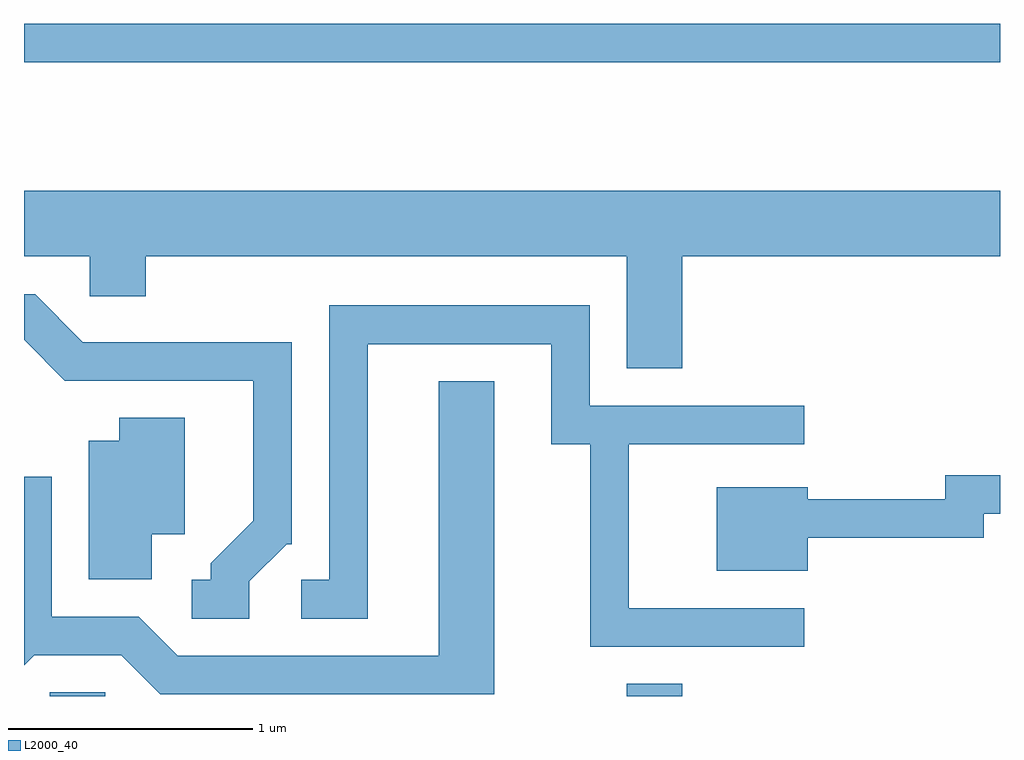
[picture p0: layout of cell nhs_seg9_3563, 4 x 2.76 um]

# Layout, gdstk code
import gdstk
lib = gdstk.Library(unit=1e-6, precision=1e-09)
def R(c, l, rs):  # rectangles x0, y0, x1, y1
    for r in rs: c.add(gdstk.rectangle(r[:2], r[2:], *l))
def P(c, l, *ps):  # polygons
    for p in ps: c.add(gdstk.Polygon(p, *l))
L2000_40 = (2000, 40)

nhs_seg9_3563 = lib.new_cell('nhs_seg9_3563')
R(nhs_seg9_3563, L2000_40, [(289.716,2014.432,289.944,2014.449), (292.081,2014.432,292.309,2014.484), (289.611,2017.031,293.611,2017.189)])
P(nhs_seg9_3563, L2000_40, [(292.309,2016.236),(293.611,2016.236),(293.611,2016.504),(289.611,2016.504),(289.611,2016.236),(289.881,2016.236),(289.881,2016.071),(290.109,2016.071),(290.109,2016.236),(292.081,2016.236),(292.081,2015.776),(292.309,2015.776)],
  [(290.534,2014.904),(290.687,2015.056),(290.709,2015.056),(290.709,2015.884),(289.852,2015.884),(289.657,2016.079),(289.611,2016.079),(289.611,2015.894),(289.779,2015.726),(290.551,2015.726),(290.551,2015.152),(290.376,2014.977),(290.376,2014.909),(290.298,2014.909),(290.298,2014.751),(290.534,2014.751)],
  [(292.808,2014.794),(292.089,2014.794),(292.089,2015.466),(292.808,2015.466),(292.808,2015.624),(291.929,2015.624),(291.929,2016.034),(290.861,2016.034),(290.861,2014.909),(290.748,2014.909),(290.748,2014.751),(291.019,2014.751),(291.019,2015.876),(291.771,2015.876),(291.771,2015.466),(291.931,2015.466),(291.931,2014.636),(292.808,2014.636)],
  [(291.539,2015.724),(291.311,2015.724),(291.311,2014.599),(290.242,2014.599),(290.082,2014.759),(289.724,2014.759),(289.724,2015.333),(289.611,2015.333),(289.611,2014.56),(289.652,2014.601),(290.009,2014.601),(290.169,2014.441),(291.539,2014.441)],
  [(290.134,2015.096),(290.269,2015.096),(290.269,2015.574),(290.001,2015.574),(290.001,2015.479),(289.876,2015.479),(289.876,2014.911),(290.134,2014.911)],
  [(292.824,2015.081),(293.544,2015.081),(293.544,2015.181),(293.611,2015.181),(293.611,2015.339),(293.386,2015.339),(293.386,2015.239),(292.824,2015.239),(292.824,2015.289),(292.451,2015.289),(292.451,2014.946),(292.824,2014.946)])

lib.write_gds('nhs_seg9_3563.gds')
